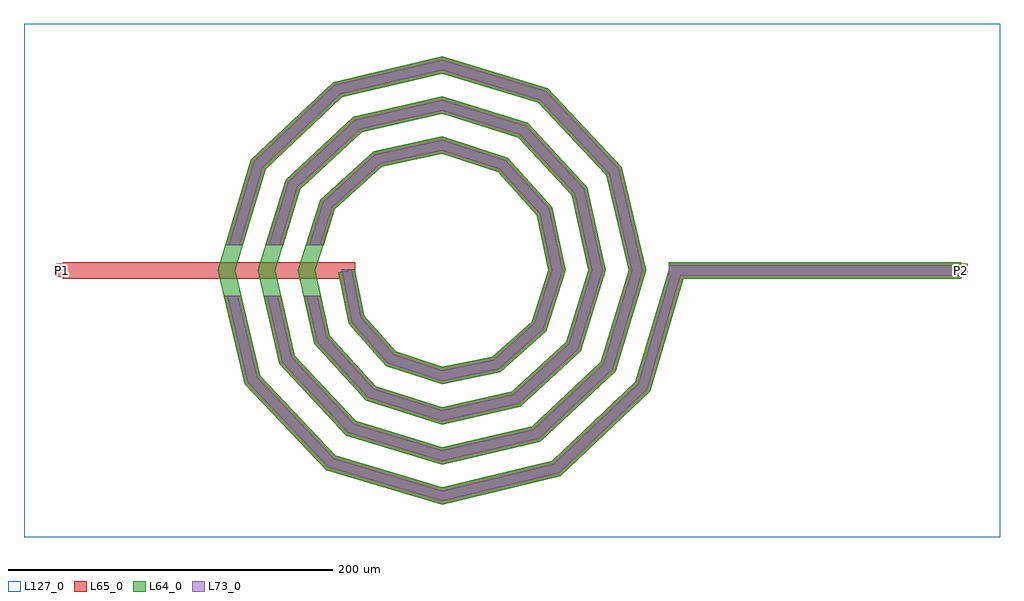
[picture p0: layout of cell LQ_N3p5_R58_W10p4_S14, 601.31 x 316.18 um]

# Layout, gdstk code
import gdstk
lib = gdstk.Library(unit=1e-6, precision=1e-09)
def R(c, l, rs):  # rectangles x0, y0, x1, y1
    for r in rs: c.add(gdstk.rectangle(r[:2], r[2:], *l))
def P(c, l, *ps):  # polygons
    for p in ps: c.add(gdstk.Polygon(p, *l))
L64_0 = (64, 0)
L65_0 = (65, 0)
L73_0 = (73, 0)
L127_0 = (127, 0)

lq_n3p5_r58_w10p4_s14 = lib.new_cell('LQ_N3p5_R58_W10p4_S14')
R(lq_n3p5_r58_w10p4_s14, L64_0, [(139.847,-5.2,319.847,5.2)])
P(lq_n3p5_r58_w10p4_s14, L64_0, [(-47.763,-27.969),(-28.418,-49.878),(0.318,-59.461),(31.026,-53.121),(55.206,-31.527),(65.63,0.291),(58.476,34.088),(34.633,60.536),(0.267,71.799),(-37.153,63.83),(-65.868,37.736),(-77.968,0.248),(-69.182,-40.222),(-40.836,-71.202),(0.231,-84.137),(43.292,-74.533),(76.537,-43.934),(90.307,0.216),(79.883,46.365),(47.031,81.874),(0.203,96.477),(-49.439,85.233),(-87.211,50.126),(-102.646,0.191),(-90.581,-52.514),(-53.22,-92.548),(0.181,-108.816),(55.59,-95.93),(97.887,-56.313),(114.986,0.172),(101.277,58.667),(59.406,103.226),(0.163,121.156),(-61.745,106.625),(-108.565,62.497),(-127.325,0.156),(-111.972,-64.824),(-65.589,-113.905),(0.149,-133.495),(67.903,-117.318),(119.245,-68.679),(140.062,1.479),(150.032,-1.479),(128.422,-74.311),(73.031,-126.786),(0.149,-144.259),(-71.232,-123.075),(-121.446,-69.94),(-138.089,0.156),(-117.728,68.153),(-66.848,116.106),(0.163,131.918),(65.074,112.38),(110.766,63.756),(125.748,0.172),(107.032,-61.997),(60.663,-105.427),(0.181,-119.578),(-58.92,-101.684),(-100.089,-57.57),(-113.407,0.191),(-96.335,55.844),(-54.475,94.75),(0.203,107.237),(52.769,90.985),(89.413,51.379),(101.066,0.216),(85.634,-49.696),(48.281,-84.076),(0.231,-94.896),(-46.624,-80.283),(-78.74,-45.182),(-88.725,0.248),(-74.93,43.554),(-42.08,73.406),(0.267,82.554),(40.487,69.575),(68.072,38.975),(76.383,0.291),(64.218,-37.422),(35.867,-62.741),(0.318,-70.212),(-34.362,-58.859),(-57.412,-32.754),(-63.765,-1.021),(-53.567,1.021)])
R(lq_n3p5_r58_w10p4_s14, L65_0, [(-233.466,-5.2,-53.466,5.2), (139.847,-5.2,319.847,5.2), (-237.466,-4,-229.466,4), (315.847,-4,323.847,4)])
P(lq_n3p5_r58_w10p4_s14, L65_0, [(-111.972,-64.824),(-65.589,-113.905),(0.149,-133.495),(67.903,-117.318),(119.245,-68.679),(140.062,1.479),(150.032,-1.479),(128.422,-74.311),(73.031,-126.786),(0.149,-144.259),(-71.232,-123.075),(-121.446,-69.94),(-134.348,-15.6),(-123.659,-15.6)],
  [(-90.582,-52.514),(-53.22,-92.548),(0.181,-108.816),(55.59,-95.93),(97.887,-56.313),(114.986,0.172),(101.277,58.667),(59.406,103.226),(0.163,121.156),(-61.745,106.625),(-108.565,62.498),(-122.608,15.6),(-133.464,15.6),(-117.728,68.153),(-66.848,116.106),(0.163,131.918),(65.074,112.38),(110.767,63.756),(125.748,0.172),(107.032,-61.997),(60.663,-105.427),(0.181,-119.578),(-58.92,-101.684),(-100.089,-57.57),(-109.766,-15.6),(-99.093,-15.6)],
  [(-69.182,-40.222),(-40.836,-71.202),(0.231,-84.137),(43.292,-74.533),(76.537,-43.934),(90.307,0.216),(79.883,46.365),(47.031,81.874),(0.203,96.477),(-49.439,85.233),(-87.211,50.126),(-97.802,15.6),(-108.68,15.6),(-96.335,55.844),(-54.475,94.75),(0.203,107.237),(52.769,90.985),(89.413,51.379),(101.066,0.216),(85.634,-49.696),(48.281,-84.076),(0.231,-94.896),(-46.624,-80.283),(-78.74,-45.182),(-85.242,-15.6),(-74.594,-15.6)],
  [(-28.418,-49.878),(0.318,-59.461),(31.026,-53.121),(55.206,-31.527),(65.63,0.291),(58.477,34.088),(34.633,60.536),(0.268,71.799),(-37.153,63.83),(-65.868,37.736),(-72.92,15.6),(-83.835,15.6),(-74.93,43.554),(-42.08,73.406),(0.268,82.554),(40.487,69.575),(68.072,38.975),(76.383,0.291),(64.219,-37.422),(35.867,-62.741),(0.318,-70.212),(-34.362,-58.859),(-57.412,-32.754),(-63.765,-1.021),(-53.567,1.021),(-47.763,-27.969)])
R(lq_n3p5_r58_w10p4_s14, L73_0, [(139.847,-3.2,319.847,3.2)])
P(lq_n3p5_r58_w10p4_s14, L73_0, [(-113.794,-65.808),(-66.674,-115.668),(0.092,-135.565),(68.889,-119.139),(121.01,-69.762),(141.979,0.91),(148.115,0.91),(126.657,-73.228),(72.045,-124.965),(0.092,-142.189),(-70.147,-121.312),(-119.624,-68.956),(-132.292,-15.6),(-125.714,-15.6)],
  [(-92.41,-53.486),(-54.316,-94.305),(0.111,-110.886),(56.566,-97.756),(99.646,-57.406),(117.055,0.106),(103.102,59.646),(60.496,104.986),(0.1,123.225),(-62.727,108.448),(-110.327,63.585),(-124.695,15.6),(-131.376,15.6),(-115.966,67.065),(-65.867,114.283),(0.1,129.849),(63.984,110.62),(108.942,62.778),(123.678,0.106),(105.274,-60.904),(59.688,-103.601),(0.111,-117.508),(-57.824,-99.927),(-98.26,-56.597),(-107.714,-15.6),(-101.146,-15.6)],
  [(-71.02,-41.175),(-41.949,-72.948),(0.142,-86.206),(44.252,-76.369),(78.287,-45.042),(92.376,0.133),(81.716,47.329),(48.134,83.626),(0.125,98.546),(-50.407,87.063),(-88.965,51.226),(-99.894,15.6),(-106.588,15.6),(-94.58,54.744),(-53.506,92.92),(0.125,105.168),(51.666,89.233),(87.58,50.414),(98.997,0.133),(83.885,-48.588),(47.322,-82.241),(0.142,-92.827),(-45.511,-78.537),(-76.902,-44.228),(-83.194,-15.6),(-76.641,-15.6)],
  [(-29.561,-51.605),(0.196,-61.528),(31.957,-54.971),(56.939,-32.661),(67.698,0.179),(60.322,35.028),(35.759,62.274),(0.165,73.867),(-38.101,65.672),(-67.611,38.855),(-75.019,15.6),(-81.736,15.6),(-73.187,42.435),(-41.133,71.564),(0.165,80.486),(39.361,67.837),(66.227,38.035),(74.315,0.179),(62.485,-36.289),(34.936,-60.891),(0.196,-68.144),(-33.219,-57.132),(-55.556,-31.834),(-61.804,0.628),(-55.529,0.628),(-49.619,-28.889)])
R(lq_n3p5_r58_w10p4_s14, L127_0, [(-257.466,-164.259,343.847,151.918)])
lq_n3p5_r58_w10p4_s14.add(gdstk.Label('P2', (319.847,0), layer=65, texttype=0))
lq_n3p5_r58_w10p4_s14.add(gdstk.Label('P1', (-233.466,0), layer=65, texttype=0))
lq_n3p5_r58_w10p4_s14.add(gdstk.Label('P2', (323.847,0), layer=145, texttype=0))
lq_n3p5_r58_w10p4_s14.add(gdstk.Label('P1', (-237.466,0), layer=145, texttype=0))

lib.write_gds('LQ_N3p5_R58_W10p4_S14.gds')
